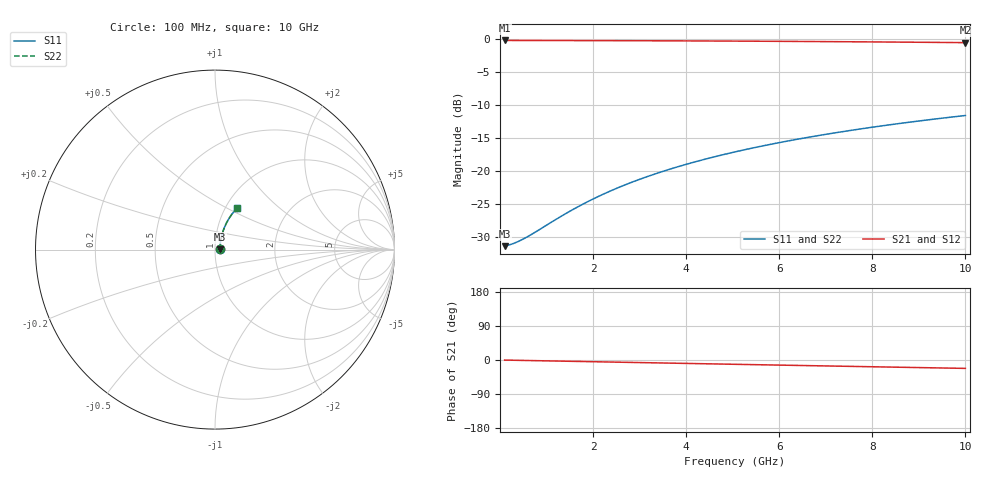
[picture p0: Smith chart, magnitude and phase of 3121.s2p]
# Hz S RI R 50.00
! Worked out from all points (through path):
!   100 points, 100 MHz to 10 GHz, reference 50 ohm
!   highest |S21| = -0.24 dB at 100 MHz (marker M1); lowest = -0.6 dB at 10 GHz (marker M2)
!   group delay of S21, straight-line fit = 6.16 ps
!   lowest |S11| = -31.3 dB at 100 MHz (marker M3), VSWR 1.06, Z = 52.8 + j0.28 ohm
!   |S11| at or under -10 dB: start of sweep to end of sweep
!   |S22| runs from -31.3 to -11.6 dB; largest |S21 - S12| = 0
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1e8  0.027 0.00265  0.973 -0.00384  0.973 -0.00384  0.027 0.00265
2e8  0.0272 0.00529  0.9728 -0.00768  0.9728 -0.00768  0.0272 0.00529
3e8  0.0274 0.00793  0.9726 -0.0115  0.9726 -0.0115  0.0274 0.00793
4e8  0.0276 0.0106  0.9724 -0.0154  0.9724 -0.0154  0.0276 0.0106
5e8  0.0278 0.0132  0.9722 -0.0192  0.9722 -0.0192  0.0278 0.0132
7e8  0.0282 0.0185  0.9718 -0.0269  0.9718 -0.0269  0.0282 0.0185
1.4e9  0.0301 0.0369  0.9698 -0.0536  0.9698 -0.0536  0.0301 0.0369
1.8e9  0.0315 0.0473  0.9682 -0.0689  0.9682 -0.0689  0.0315 0.0473
2.2e9  0.0333 0.0577  0.9663 -0.084  0.9663 -0.084  0.0333 0.0577
2.6e9  0.0354 0.068  0.9641 -0.0991  0.9641 -0.0991  0.0354 0.068
3e9  0.0378 0.0782  0.9615 -0.1141  0.9615 -0.1141  0.0378 0.0782
3.4e9  0.0405 0.0883  0.9586 -0.1291  0.9586 -0.1291  0.0405 0.0883
3.8e9  0.0435 0.0983  0.9554 -0.1439  0.9554 -0.1439  0.0435 0.0983
4.2e9  0.0469 0.1082  0.9518 -0.1586  0.9518 -0.1586  0.0469 0.1082
4.6e9  0.0505 0.118  0.9479 -0.1732  0.9479 -0.1732  0.0505 0.118
5.1e9  0.0554 0.13  0.9426 -0.1912  0.9426 -0.1912  0.0554 0.13
5.9e9  0.0642 0.1487  0.9332 -0.2195  0.9332 -0.2195  0.0642 0.1487
6.7e9  0.0741 0.1667  0.9226 -0.2472  0.9226 -0.2472  0.0741 0.1667
7.5e9  0.085 0.1839  0.9108 -0.2741  0.9108 -0.2741  0.085 0.1839
8.4e9  0.0983 0.2024  0.8964 -0.3034  0.8964 -0.3034  0.0983 0.2024
9.2e9  0.1111 0.2178  0.8826 -0.3286  0.8826 -0.3286  0.1111 0.2178
1e10  0.1247 0.2323  0.8678 -0.3529  0.8678 -0.3529  0.1247 0.2323
